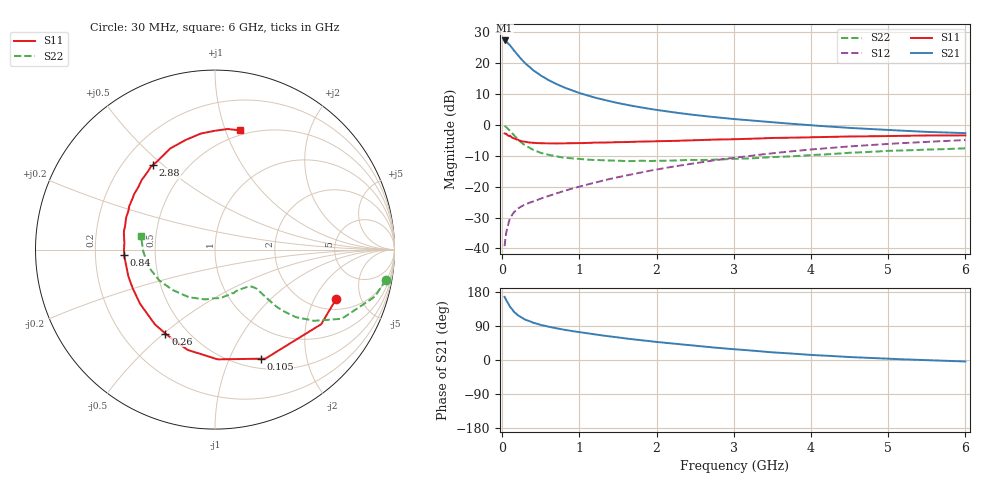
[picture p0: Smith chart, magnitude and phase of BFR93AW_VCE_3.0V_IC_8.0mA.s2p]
! Infineon Technologies  Discrete & RF Semiconductors
! BFR93AW
! VCE =  3.0 V,  IC =  8.0 mA
! Common Emitter S-Parameters:  Nov 2015
# GHz  S  MA  R  50
!  f  S11  S21  S12  S22
! GHz  MAG  ANG  MAG  ANG  MAG  ANG  MAG  ANG
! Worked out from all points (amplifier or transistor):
!   206 points, 30 MHz to 6 GHz, reference 50 ohm
!   highest |S21| = 27.4 dB at 30 MHz (marker M1)
!   |S21| within 3 dB of that: start of sweep to 143.6 MHz
!   unconditionally stable (mu >= 1): 794.7 MHz to 2.316 GHz
!   at 200 MHz: K = 0.43, MSG = 24.9 dB, |S12| = -27.1 dB
!   at 1.56 GHz: K = 1.08, MAG = 10.0 dB, |S12| = -16.6 dB
!   at 6 GHz: K = 0.93, MSG = 1.1 dB, |S12| = -4.9 dB
!   S11 on the Smith chart (normalised r, x): 30 MHz: 2.58, -3.04; 105 MHz: 0.61, -1.31; 260 MHz: 0.38, -0.51; 840 MHz: 0.33, -0.02; 2.88 GHz: 0.32, +0.47; 6 GHz: 0.46, +1.12
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0.03  0.7291 -22.2  23.36 166.7  0.0109 78.6  0.9678 -10.0
0.05  0.723 -35.1  22.64 157.9  0.0177 75.0  0.928 -16.4
0.1  0.6692 -65.2  19.53 140.3  0.031 63.1  0.8045 -28.6
0.105  0.6589 -67.3  19.16 139.2  0.0317 62.1  0.7916 -29.2
0.15  0.6117 -88.6  16.16 127.4  0.0385 55.1  0.6799 -35.7
0.155  0.6062 -90.2  15.88 126.6  0.039 54.6  0.6704 -36.1
0.2  0.5793 -105.3  13.53 118.3  0.044 51.0  0.5865 -39.9
0.24  0.5511 -115.8  11.86 113.0  0.0474 49.6  0.5284 -41.5
0.26  0.5432 -120.6  11.14 110.5  0.0489 49.3  0.504 -42.1
0.3  0.5344 -128.9  9.896 106.2  0.0519 49.5  0.4646 -42.9
0.4  0.5151 -144.2  7.701 98.4  0.0579 50.2  0.3953 -43.1
0.5  0.5067 -154.8  6.306 92.4  0.0645 52.3  0.3527 -43.1
0.6  0.5052 -162.8  5.316 87.7  0.0709 54.4  0.3281 -43.0
0.84  0.5061 -176.9  3.887 78.6  0.0885 58.6  0.2923 -45.1
1.04  0.5084 174.2  3.176 72.2  0.1037 61.0  0.2782 -48.0
1.5  0.527 159.4  2.258 59.5  0.1425 63.7  0.2643 -58.2
2.02  0.5463 145.2  1.738 47.2  0.1917 63.2  0.2635 -72.9
2.88  0.5843 126.1  1.291 30.5  0.2814 58.5  0.2781 -97.9
3.1  0.5917 121.5  1.218 26.9  0.3041 56.6  0.2845 -104.8
4.1  0.6351 103.4  0.969 12.4  0.4104 46.4  0.3296 -139.3
5.1  0.6639 88.9  0.818 2.4  0.5019 34.6  0.3833 -167.7
6  0.6786 78.2  0.738 -3.9  0.5698 24.2  0.4191 169.6
